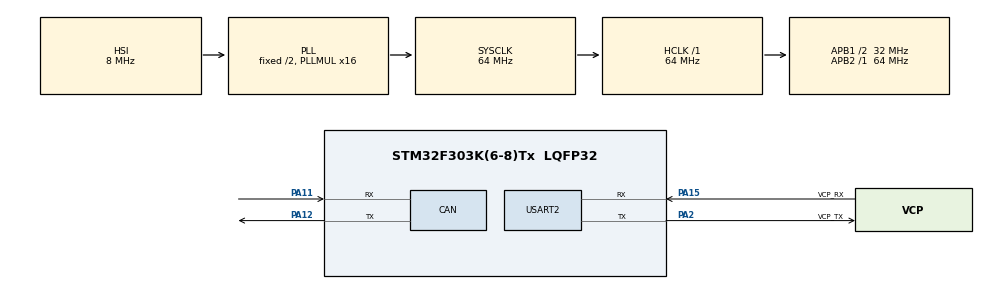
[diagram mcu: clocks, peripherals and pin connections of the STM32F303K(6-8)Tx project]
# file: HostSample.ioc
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CAN.AWUM=ENABLE
CAN.BS1=CAN_BS1_2TQ
CAN.CalculateTimeQuantum=500.0
CAN.TXFP=ENABLE
Dma.Request0=USART2_RX
Dma.Request1=USART2_TX
Dma.USART2_RX.0.Direction=DMA_PERIPH_TO_MEMORY
Dma.USART2_RX.0.Instance=DMA1_Channel6
Dma.USART2_RX.0.MemDataAlignment=DMA_MDATAALIGN_BYTE
Dma.USART2_RX.0.MemInc=DMA_MINC_ENABLE
Dma.USART2_RX.0.Mode=DMA_CIRCULAR
Dma.USART2_RX.0.PeriphDataAlignment=DMA_PDATAALIGN_BYTE
Dma.USART2_RX.0.PeriphInc=DMA_PINC_DISABLE
Dma.USART2_RX.0.Priority=DMA_PRIORITY_LOW
Dma.USART2_TX.1.Direction=DMA_MEMORY_TO_PERIPH
Dma.USART2_TX.1.Instance=DMA1_Channel7
Dma.USART2_TX.1.MemDataAlignment=DMA_MDATAALIGN_BYTE
Dma.USART2_TX.1.MemInc=DMA_MINC_ENABLE
Dma.USART2_TX.1.Mode=DMA_CIRCULAR
Dma.USART2_TX.1.PeriphDataAlignment=DMA_PDATAALIGN_BYTE
Dma.USART2_TX.1.PeriphInc=DMA_PINC_DISABLE
Dma.USART2_TX.1.Priority=DMA_PRIORITY_LOW
Mcu.Family=STM32F3
Mcu.Name=STM32F303K(6-8)Tx
Mcu.Package=LQFP32
NVIC.CAN_RX0_IRQn=true\:1\:0\:true\:false\:true\:true\:true
NVIC.CAN_SCE_IRQn=true\:0\:0\:false\:false\:true\:true\:true
NVIC.DMA1_Channel6_IRQn=true\:0\:0\:false\:false\:true\:false\:true
NVIC.DMA1_Channel7_IRQn=true\:0\:0\:false\:false\:true\:false\:true
NVIC.PriorityGroup=NVIC_PRIORITYGROUP_4
NVIC.USART2_IRQn=true\:0\:0\:false\:false\:true\:true\:true
PA11.Mode=Master
PA11.Signal=CAN_RX
PA12.Mode=Master
PA12.Signal=CAN_TX
PA13.GPIO_Label=SWDIO
PA13.Mode=Serial_Wire
PA13.Signal=SYS_JTMS-SWDIO
PA14.GPIO_Label=SWCLK
PA14.Mode=Serial_Wire
PA14.Signal=SYS_JTCK-SWCLK
PA15.GPIO_Label=VCP_RX
PA15.Mode=Asynchronous
PA15.Signal=USART2_RX
PA2.GPIO_Label=VCP_TX
PA2.Mode=Asynchronous
PA2.Signal=USART2_TX
PF0\ /\ OSC_IN.GPIO_Label=MCO
PF0\ /\ OSC_IN.Mode=HSE-External-Clock-Source
PF0\ /\ OSC_IN.Signal=RCC_OSC_IN
ProjectManager.HeapSize=0x200
ProjectManager.StackSize=0x400
ProjectManager.TargetToolchain=STM32CubeIDE
RCC.AHBFreq_Value=64000000
RCC.APB1CLKDivider=RCC_HCLK_DIV2
RCC.APB1Freq_Value=32000000
RCC.APB1TimFreq_Value=64000000
RCC.APB2Freq_Value=64000000
RCC.APB2TimFreq_Value=64000000
RCC.CortexFreq_Value=64000000
RCC.HCLKFreq_Value=64000000
RCC.HSE_VALUE=8000000
RCC.HSI_VALUE=8000000
RCC.PLLMUL=RCC_PLL_MUL16
RCC.SYSCLKFreq_VALUE=64000000
RCC.SYSCLKSourceVirtual=RCC_SYSCLKSOURCE_PLLCLK
USART2.VirtualMode-Asynchronous=VM_ASYNC
board=NUCLEO-F303K8

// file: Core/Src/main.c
/* USER CODE BEGIN Header */
/**
  ******************************************************************************
  * @file           : main.c
  * @brief          : Main program body
  ******************************************************************************
  * @attention
  *
  * <h2><center>&copy; Copyright (c) 2020 STMicroelectronics.
  * All rights reserved.</center></h2>
  *
  * This software component is licensed by ST under BSD 3-Clause license,
  * the "License"; You may not use this file except in compliance with the
  * License. You may obtain a copy of the License at:
  *                        opensource.org/licenses/BSD-3-Clause
  *
  ******************************************************************************
  */
/* USER CODE END Header */
#include "main.h"

/* USER CODE BEGIN Includes */
#include "cppmain.hpp"
/* USER CODE END Includes */

CAN_HandleTypeDef hcan;

UART_HandleTypeDef huart2;
DMA_HandleTypeDef hdma_usart2_rx;
DMA_HandleTypeDef hdma_usart2_tx;

void SystemClock_Config(void);
static void MX_GPIO_Init(void);
static void MX_DMA_Init(void);
static void MX_USART2_UART_Init(void);
static void MX_CAN_Init(void);

int main(void)
{

  /* MCU Configuration--------------------------------------------------------*/

  /* Reset of all peripherals, Initializes the Flash interface and the Systick. */
  HAL_Init();

  /* Configure the system clock */
  SystemClock_Config();

  /* Initialize all configured peripherals */
  MX_GPIO_Init();
  MX_DMA_Init();
  MX_USART2_UART_Init();
  MX_CAN_Init();
  /* USER CODE BEGIN 2 */
  cppmain();
  /* USER CODE END 2 */

  /* Infinite loop */
  while (1)
  {

  }
}

void SystemClock_Config(void)
{
  RCC_OscInitTypeDef RCC_OscInitStruct = {0};
  RCC_ClkInitTypeDef RCC_ClkInitStruct = {0};

  /** Initializes the RCC Oscillators according to the specified parameters
  * in the RCC_OscInitTypeDef structure.
  */
  RCC_OscInitStruct.OscillatorType = RCC_OSCILLATORTYPE_HSI;
  RCC_OscInitStruct.HSIState = RCC_HSI_ON;
  RCC_OscInitStruct.HSICalibrationValue = RCC_HSICALIBRATION_DEFAULT;
  RCC_OscInitStruct.PLL.PLLState = RCC_PLL_ON;
  RCC_OscInitStruct.PLL.PLLSource = RCC_PLLSOURCE_HSI;
  RCC_OscInitStruct.PLL.PLLMUL = RCC_PLL_MUL16;
  if (HAL_RCC_OscConfig(&RCC_OscInitStruct) != HAL_OK)
  {
    Error_Handler();
  }
  /** Initializes the CPU, AHB and APB buses clocks
  */
  RCC_ClkInitStruct.ClockType = RCC_CLOCKTYPE_HCLK|RCC_CLOCKTYPE_SYSCLK
                              |RCC_CLOCKTYPE_PCLK1|RCC_CLOCKTYPE_PCLK2;
  RCC_ClkInitStruct.SYSCLKSource = RCC_SYSCLKSOURCE_PLLCLK;
  RCC_ClkInitStruct.AHBCLKDivider = RCC_SYSCLK_DIV1;
  RCC_ClkInitStruct.APB1CLKDivider = RCC_HCLK_DIV2;
  RCC_ClkInitStruct.APB2CLKDivider = RCC_HCLK_DIV1;

  if (HAL_RCC_ClockConfig(&RCC_ClkInitStruct, FLASH_LATENCY_2) != HAL_OK)
  {
    Error_Handler();
  }
}

static void MX_CAN_Init(void)
{

  hcan.Instance = CAN;
  hcan.Init.Prescaler = 16;
  hcan.Init.Mode = CAN_MODE_NORMAL;
  hcan.Init.SyncJumpWidth = CAN_SJW_1TQ;
  hcan.Init.TimeSeg1 = CAN_BS1_2TQ;
  hcan.Init.TimeSeg2 = CAN_BS2_1TQ;
  hcan.Init.TimeTriggeredMode = DISABLE;
  hcan.Init.AutoBusOff = DISABLE;
  hcan.Init.AutoWakeUp = ENABLE;
  hcan.Init.AutoRetransmission = DISABLE;
  hcan.Init.ReceiveFifoLocked = DISABLE;
  hcan.Init.TransmitFifoPriority = ENABLE;
  if (HAL_CAN_Init(&hcan) != HAL_OK)
  {
    Error_Handler();
  }

}

static void MX_USART2_UART_Init(void)
{

  huart2.Instance = USART2;
  huart2.Init.BaudRate = 38400;
  huart2.Init.WordLength = UART_WORDLENGTH_8B;
  huart2.Init.StopBits = UART_STOPBITS_1;
  huart2.Init.Parity = UART_PARITY_NONE;
  huart2.Init.Mode = UART_MODE_TX_RX;
  huart2.Init.HwFlowCtl = UART_HWCONTROL_NONE;
  huart2.Init.OverSampling = UART_OVERSAMPLING_16;
  huart2.Init.OneBitSampling = UART_ONE_BIT_SAMPLE_DISABLE;
  huart2.AdvancedInit.AdvFeatureInit = UART_ADVFEATURE_NO_INIT;
  if (HAL_UART_Init(&huart2) != HAL_OK)
  {
    Error_Handler();
  }

}

static void MX_DMA_Init(void)
{

  /* DMA controller clock enable */
  __HAL_RCC_DMA1_CLK_ENABLE();

  /* DMA interrupt init */
  /* DMA1_Channel6_IRQn interrupt configuration */
  HAL_NVIC_SetPriority(DMA1_Channel6_IRQn, 0, 0);
  HAL_NVIC_EnableIRQ(DMA1_Channel6_IRQn);
  /* DMA1_Channel7_IRQn interrupt configuration */
  HAL_NVIC_SetPriority(DMA1_Channel7_IRQn, 0, 0);
  HAL_NVIC_EnableIRQ(DMA1_Channel7_IRQn);

}

static void MX_GPIO_Init(void)
{

  /* GPIO Ports Clock Enable */
  __HAL_RCC_GPIOF_CLK_ENABLE();
  __HAL_RCC_GPIOA_CLK_ENABLE();

}

/* USER CODE BEGIN 4 */
unsigned char tx_buffer[1024];
int _read(int file, char *ptr, int len){
	HAL_StatusTypeDef status;
	unsigned char ch;
	status = HAL_UART_Receive(&huart2, &ch, 1, -1);
	if(status != HAL_OK)return 0;
	ptr[0] = ch;
	return huart2.RxXferSize - huart2.RxXferCount;
}

int _write(int file, char *ptr, int len){
	HAL_StatusTypeDef status;
	while(HAL_UART_GetState(&huart2) != HAL_UART_STATE_READY);
	for (int i = 0;i < len;i++){
		tx_buffer[i] = ptr[i];
	}
	do{
		status = HAL_UART_Transmit_DMA(&huart2, tx_buffer, len);
		if (status == HAL_ERROR){
			Error_Handler();
		}
	}while(status != HAL_OK);
	return len;
}

void HAL_UART_TxCpltCallback(UART_HandleTypeDef *huart)
{
  /* Prevent unused argument(s) compilation warning */
	if(HAL_UART_DMAStop(&huart2) != HAL_OK){
		Error_Handler();
	}

  /* NOTE : This function should not be modified, when the callback is needed,
            the HAL_UART_TxCpltCallback can be implemented in the user file.
   */
}

/* USER CODE END 4 */

void Error_Handler(void)
{
  /* USER CODE BEGIN Error_Handler_Debug */
  /* User can add his own implementation to report the HAL error return state */
	while(1);
  /* USER CODE END Error_Handler_Debug */
}

/************************ (C) COPYRIGHT STMicroelectronics *****END OF FILE****/
